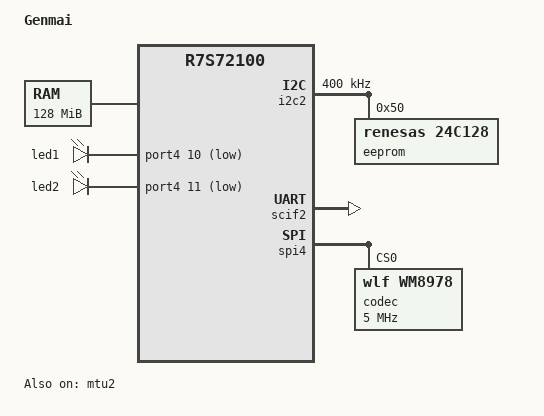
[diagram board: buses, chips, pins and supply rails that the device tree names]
/*
 * Device Tree Source for the Genmai board
 *
 * Copyright (C) 2013-14 Renesas Solutions Corp.
 * Copyright (C) 2014 Wolfram Sang, Sang Engineering <wsa@sang-engineering.com>
 *
 * This file is licensed under the terms of the GNU General Public License
 * version 2.  This program is licensed "as is" without any warranty of any
 * kind, whether express or implied.
 */

/dts-v1/;
#include "r7s72100.dtsi"
#include <dt-bindings/gpio/gpio.h>

/ {
	model = "Genmai";
	compatible = "renesas,genmai", "renesas,r7s72100";

	aliases {
		serial2 = &scif2;
	};

	chosen {
		bootargs = "ignore_loglevel rw root=/dev/nfs ip=dhcp";
		stdout-path = &scif2;
	};

	memory {
		device_type = "memory";
		reg = <0x08000000 0x08000000>;
	};

	lbsc {
		#address-cells = <1>;
		#size-cells = <1>;
	};

	leds {
		compatible = "gpio-leds";
		led1 {
			gpios = <&port4 10 GPIO_ACTIVE_LOW>;
		};
		led2 {
			gpios = <&port4 11 GPIO_ACTIVE_LOW>;
		};
	};

};

&extal_clk {
	clock-frequency = <13330000>;
};

&usb_x1_clk {
	clock-frequency = <48000000>;
};

&mtu2 {
	status = "ok";
};

&i2c2 {
	status = "okay";
	clock-frequency = <400000>;

	eeprom@50 {
		compatible = "renesas,24c128";
		reg = <0x50>;
		pagesize = <64>;
	};
};

&pfc {
	pinctrl-0 = <&ethernet_pins &scif2_pins>;
	pinctrl-names = "default";

	ethernet_pins: ethernet {
		renesas,groups = "ethernet_rxdv_p3_6",
				 "ethernet_rxer_p3_5",
				 "ethernet_rxclk_p3_4",
				 "ethernet_mdio_p3_3",
				 "ethernet_rxd3_p2_11",
				 "ethernet_rxd2_p2_10",
				 "ethernet_rxd1_p2_9",
				 "ethernet_rxd0_p2_8",
				 "ethernet_txd3_p2_7",
				 "ethernet_txd2_p2_6",
				 "ethernet_txd1_p2_5",
				 "ethernet_txd0_p2_4",
				 "ethernet_txcrs_p2_3",
				 "ethernet_txen_p2_2",
				 "ethernet_txer_p2_1",
				 "ethernet_txclk_p2_0",
				 "ethernet_mdc_p5_9",
				 "ethernet_col_p1_14",
				 "ethernet_int_p1_15";
		renesas,function = "ethernet";
	};

	scif2_pins: serial2 {
		renesas,groups = "scif2_txd_p3_0", "scif2_rxd_p3_2";
		renesas,function = "scif2";
	};
};

&scif2 {
	status = "okay";
};

&spi4 {
	status = "okay";

	codec: codec@0 {
		compatible = "wlf,wm8978";
		reg = <0>;
		spi-max-frequency = <5000000>;
	};
};
